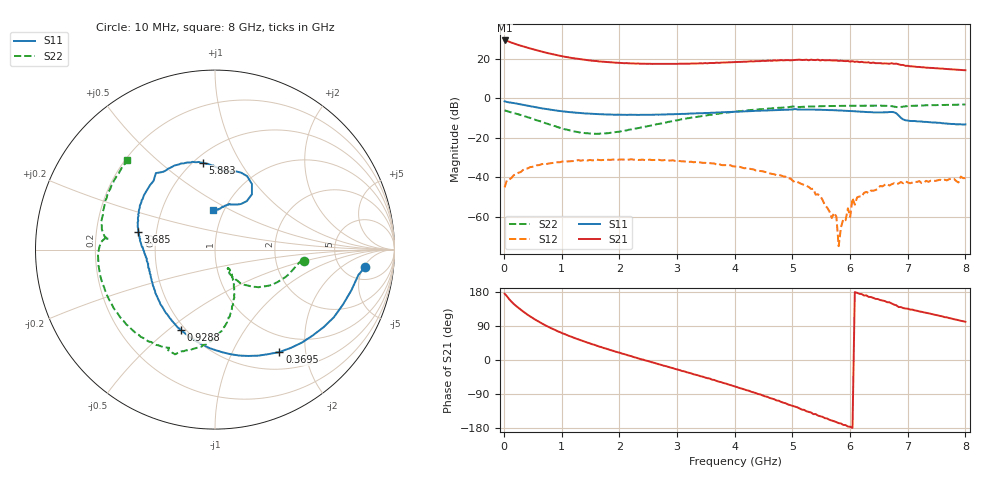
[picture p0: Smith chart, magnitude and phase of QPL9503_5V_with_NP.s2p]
!QPL9503
!VDD=5V, IDD=55mA
#  HZ  S  DB  R  50.00
! Measurements: S11 S21 S12 S22
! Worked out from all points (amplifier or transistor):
!   201 points, 10 MHz to 8 GHz, reference 50 ohm
!   highest |S21| = 29.4 dB at 10 MHz (marker M1)
!   |S21| within 3 dB of that: start of sweep to 326.7 MHz
!   unconditionally stable (mu >= 1): start of sweep to 146.8 MHz; 203.1 MHz to 219.8 MHz; 383.3 MHz to end of sweep
!   at 1.328 GHz: K = 1.71, MAG = 20.8 dB, |S12| = -31.6 dB
!   at 4.005 GHz: K = 2.27, MAG = 20.2 dB, |S12| = -34.6 dB
!   at 8 GHz: K = 4.96, MAG = 17.5 dB, |S12| = -40.5 dB
!   lowest NFmin = 0.35 dB at 600 MHz
!   S11 on the Smith chart (normalised r, x): 10 MHz: 8.13, -5.34; 369.6 MHz: 0.74, -1.55; 928.9 MHz: 0.47, -0.55; 3.685 GHz: 0.39, +0.10; 5.883 GHz: 0.55, +0.70; 8 GHz: 0.89, +0.41
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1e7  -1.49 -6.5  29.44 174.9  -45.18 30.6  -6.06 -7.4
4.995e7  -1.81 -10.0  29.24 168.3  -41.52 17.2  -6.45 -8.5
8.99e7  -2.02 -16.7  28.77 160.4  -41.23 16.5  -6.84 -12.9
1.698e8  -2.36 -29.6  27.95 147.8  -38.97 26.9  -7.46 -20.8
2.8965e8  -2.99 -47.0  26.79 132.7  -37.40 32.2  -8.43 -30.3
3.6955e8  -3.42 -57.8  26.11 124.0  -35.70 27.6  -9.17 -35.9
6.0925e8  -4.81 -85.5  24.13 100.2  -33.88 23.0  -11.44 -48.0
9.2885e8  -6.25 -113.0  21.89 75.9  -32.41 14.0  -14.58 -57.1
1.3683e9  -7.52 -138.7  19.72 50.3  -31.42 3.1  -17.44 -57.7
1.9276e9  -8.29 -158.8  18.19 22.3  -31.00 -12.1  -17.11 -53.8
2.68665e9  -8.25 -174.7  17.51 -11.2  -31.17 -30.5  -12.94 -62.2
3.6854e9  -7.14 166.9  18.16 -55.3  -33.64 -57.9  -7.89 -80.6
4.005e9  -6.81 159.5  18.43 -70.0  -34.59 -66.7  -6.74 -86.4
4.68415e9  -5.98 139.7  19.34 -103.5  -38.52 -84.3  -4.98 -101.9
5.1236e9  -5.66 123.6  19.71 -127.7  -42.98 -104.8  -4.35 -115.3
5.3633e9  -5.68 115.6  19.52 -143.0  -45.92 -107.4  -4.07 -122.9
5.7628e9  -6.06 102.0  19.29 -163.9  -60.10 -89.9  -3.83 -138.3
5.80275e9  -6.08 100.4  19.06 -166.6  -75.05 112.3  -3.79 -139.9
5.88265e9  -6.22 98.0  19.02 -171.4  -61.30 94.6  -3.77 -143.4
6.68165e9  -6.92 74.8  17.63 152.2  -44.27 37.8  -3.82 178.7
6.84145e9  -8.63 56.2  17.35 139.8  -43.20 31.0  -4.51 174.0
8e9  -13.21 92.5  14.30 100.9  -40.51 48.4  -3.10 134.2
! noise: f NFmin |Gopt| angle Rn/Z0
6e+08  0.3535  0.2042  23.72  0.06455
1.1e+09  0.5045  0.1431  16.44  0.07004
1.7e+09  0.4002  0.1116  23.97  0.07137
2.3e+09  0.4337  0.08437  81.35  0.05564
2.9e+09  0.5622  0.07033  130.8  0.05715
3.5e+09  0.6928  0.1123  -173.7  0.05902
4.2e+09  0.7575  0.1797  179.9  0.05655
4.8e+09  0.7025  0.2749  -149.5  0.0567
5.4e+09  0.7514  0.3894  -134.4  0.06258
6e+09  1.094  0.4343  -130.3  0.0849
